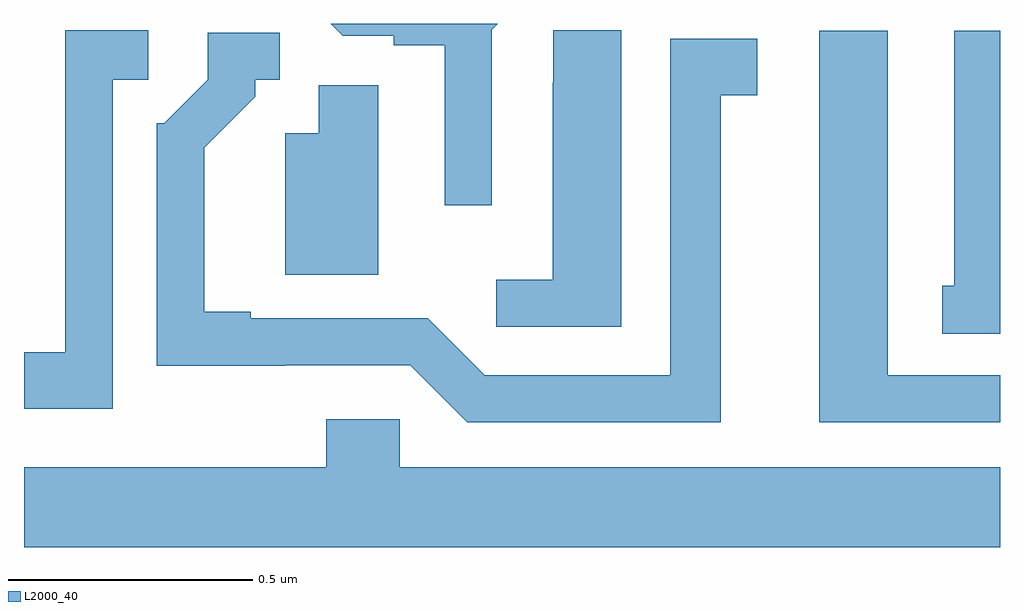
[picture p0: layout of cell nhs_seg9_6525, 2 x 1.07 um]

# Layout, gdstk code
import gdstk
lib = gdstk.Library(unit=1e-6, precision=1e-09)
def P(c, l, *ps):  # polygons
    for p in ps: c.add(gdstk.Polygon(p, *l))
L2000_40 = (2000, 40)

nhs_seg9_6525 = lib.new_cell('nhs_seg9_6525')
P(nhs_seg9_6525, L2000_40, [(193.959,1189.488),(193.971,1189.5),(193.629,1189.5),(193.653,1189.476),(193.758,1189.476),(193.758,1189.456),(193.862,1189.456),(193.862,1189.128),(193.959,1189.128)],
  [(193.182,1189.386),(193.255,1189.386),(193.255,1189.487),(193.085,1189.487),(193.085,1188.827),(193,1188.827),(193,1188.711),(193.182,1188.711)],
  [(194.224,1189.487),(194.085,1189.487),(194.085,1189.379),(194.084,1189.379),(194.084,1188.976),(193.968,1188.976),(193.968,1188.879),(194.224,1188.879)],
  [(195,1189.486),(194.906,1189.486),(194.906,1188.963),(194.882,1188.963),(194.882,1188.865),(195,1188.865)],
  [(195,1188.78),(194.77,1188.78),(194.77,1189.486),(194.63,1189.486),(194.63,1188.684),(195,1188.684)],
  [(194.428,1189.354),(194.503,1189.354),(194.503,1189.47),(194.324,1189.47),(194.324,1188.78),(193.944,1188.78),(193.827,1188.897),(193.465,1188.897),(193.465,1188.91),(193.369,1188.91),(193.369,1189.246),(193.474,1189.351),(193.474,1189.386),(193.524,1189.386),(193.524,1189.482),(193.377,1189.482),(193.377,1189.386),(193.287,1189.296),(193.272,1189.296),(193.272,1188.8),(193.535,1188.8),(193.535,1188.801),(193.791,1188.801),(193.908,1188.684),(194.428,1188.684)],
  [(193.726,1189.374),(193.604,1189.374),(193.604,1189.276),(193.535,1189.276),(193.535,1188.986),(193.726,1188.986)],
  [(195,1188.592),(193.77,1188.592),(193.77,1188.69),(193.619,1188.69),(193.619,1188.592),(193,1188.592),(193,1188.428),(195,1188.428)])

lib.write_gds('nhs_seg9_6525.gds')
